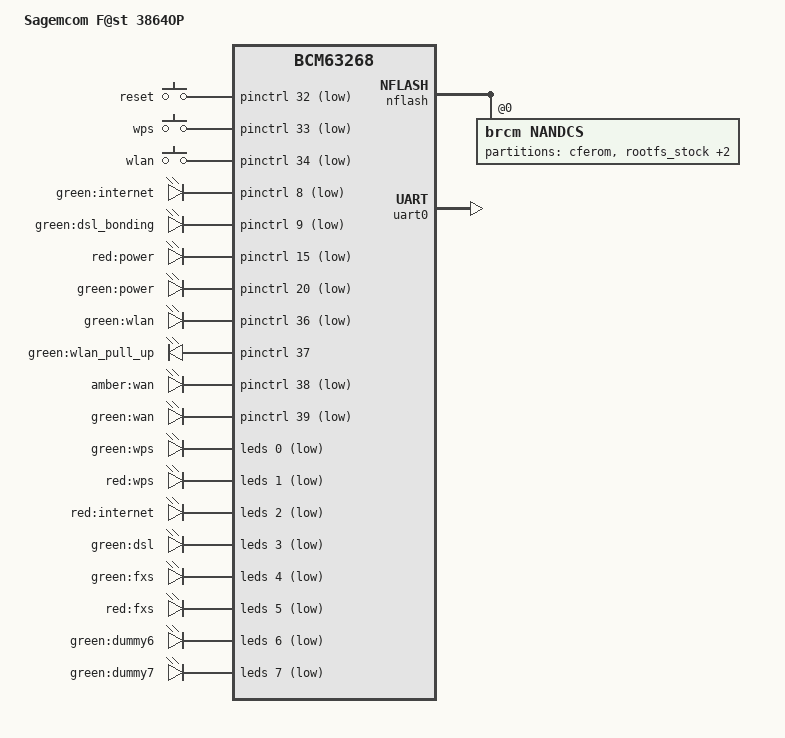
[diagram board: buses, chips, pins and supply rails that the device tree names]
// SPDX-License-Identifier: GPL-2.0-or-later

#include "bcm63268.dtsi"

#include <dt-bindings/input/input.h>
#include <dt-bindings/gpio/gpio.h>

/ {
	model = "Sagemcom F@st 3864OP";
	compatible = "sagem,fast-3864op", "brcm,bcm63168", "brcm,bcm63268";

	chosen {
		bootargs = "rootfstype=squashfs,ubifs noinitrd console=ttyS0,115200";
		stdout-path = "serial0:115200n8";
	};

	aliases {
		led-boot = &led_power_green;
		led-failsafe = &led_power_red;
		led-running = &led_power_green;
		led-upgrade = &led_power_green;
	};

	keys {
		compatible = "gpio-keys-polled";
		#address-cells = <1>;
		#size-cells = <0>;
		poll-interval = <20>;

		reset {
			label = "reset";
			gpios = <&pinctrl 32 GPIO_ACTIVE_LOW>;
			linux,code = <KEY_RESTART>;
			debounce-interval = <60>;
		};

		wps {
			label = "wps";
			gpios = <&pinctrl 33 GPIO_ACTIVE_LOW>;
			linux,code = <KEY_WPS_BUTTON>;
			debounce-interval = <60>;
		};

		wlan {
			label = "wlan";
			gpios = <&pinctrl 34 GPIO_ACTIVE_LOW>;
			linux,code = <KEY_WLAN>;
			debounce-interval = <60>;
		};
	};

	leds {
		compatible = "gpio-leds";

		led@8 {
			gpios = <&pinctrl 8 GPIO_ACTIVE_LOW>;
			label = "green:internet";
		};

		led@9 {
			gpios = <&pinctrl 9 GPIO_ACTIVE_LOW>;
			label = "green:dsl_bonding";
		};

		led_power_red: led@15 {
			gpios = <&pinctrl 15 GPIO_ACTIVE_LOW>;
			label = "red:power";
		};

		led_power_green: led@20 {
			gpios = <&pinctrl 20 GPIO_ACTIVE_LOW>;
			label = "green:power";
			default-state = "on";
		};

		led@36 {
			gpios = <&pinctrl 36 GPIO_ACTIVE_LOW>;
			label = "green:wlan";
		};

		led@37 {
			gpios = <&pinctrl 37 GPIO_ACTIVE_HIGH>;
			label = "green:wlan_pull_up";
			default-state = "on";
		};

		led@38 {
			gpios = <&pinctrl 38 GPIO_ACTIVE_LOW>;
			label = "amber:wan";
		};

		led@39 {
			gpios = <&pinctrl 39 GPIO_ACTIVE_LOW>;
			label = "green:wan";
		};
	};
};

&leds {
	status = "okay";
	brcm,serial-leds;
	brcm,serial-dat-low;
	brcm,serial-shift-inv;

	pinctrl-names = "default";
	pinctrl-0 = <&pinctrl_serial_led>;

	led@0 {
		reg = <0>;
		active-low;
		label = "green:wps";
	};

	led@1 {
		reg = <1>;
		active-low;
		label = "red:wps";
	};

	led@2 {
		reg = <2>;
		active-low;
		label = "red:internet";
	};

	led@3 {
		reg = <3>;
		active-low;
		label = "green:dsl";
	};

	led@4 {
		reg = <4>;
		active-low;
		label = "green:fxs";
	};

	led@5 {
		reg = <5>;
		active-low;
		label = "red:fxs";
	};

	led@6 {
		reg = <6>;
		active-low;
		label = "green:dummy6";
	};

	led@7 {
		reg = <7>;
		active-low;
		label = "green:dummy7";
	};
};

&nflash {
	status = "okay";

	nandcs@0 {
		compatible = "brcm,nandcs";
		#size-cells = <1>;
		#address-cells = <1>;
		reg = <0>;
		nand-ecc-step-size = <512>;
		nand-ecc-strength = <15>;
		nand-on-flash-bbt;
		brcm,nand-oob-sector-size = <64>;

		partitions {
			compatible = "fixed-partitions";
			#address-cells = <1>;
			#size-cells = <1>;

			partition@0 {
				label = "cferom";
				reg = <0x00000000 0x00020000>;
				read-only;
			};

			partition@20000 {
				label = "rootfs_stock";
				reg = <0x00020000 0x03d60000>;
				read-only;
			};

			partition@3d80000 {
				label = "rootfs_update";
				reg = <0x03d80000 0x03d60000>;
			};

			partition@7b00000 {
				label = "data_stock";
				reg = <0x07b00000 0x400000>;
				read-only;
			};
		};
	};
};

&uart0 {
	status = "okay";
};
